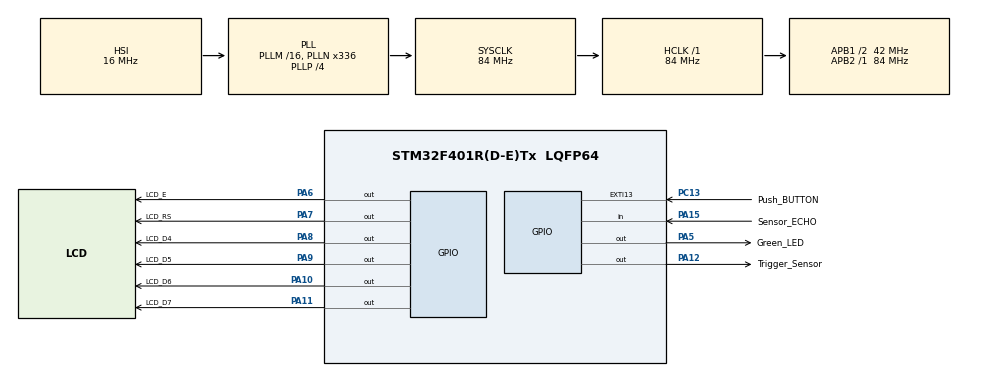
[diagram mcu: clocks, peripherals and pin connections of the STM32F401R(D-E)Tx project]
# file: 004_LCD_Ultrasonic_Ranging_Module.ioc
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Mcu.Family=STM32F4
Mcu.Name=STM32F401R(D-E)Tx
Mcu.Package=LQFP64
NVIC.PriorityGroup=NVIC_PRIORITYGROUP_0
NVIC.TIM1_UP_TIM10_IRQn=true\:0\:0\:false\:false\:true\:true\:true
PA10.GPIO_Label=LCD_D6
PA10.Signal=GPIO_Output
PA11.GPIO_Label=LCD_D7
PA11.Signal=GPIO_Output
PA12.GPIO_Label=Trigger_Sensor
PA12.Signal=GPIO_Output
PA15.GPIO_Label=Sensor_ECHO
PA15.Signal=GPIO_Input
PA5.GPIO_Label=Green_LED
PA5.GPIO_Mode=GPIO_MODE_OUTPUT_PP
PA5.GPIO_PuPd=GPIO_NOPULL
PA5.GPIO_Speed=GPIO_SPEED_FREQ_LOW
PA5.Signal=GPIO_Output
PA6.GPIO_Label=LCD_E
PA6.Signal=GPIO_Output
PA7.GPIO_Label=LCD_RS
PA7.Signal=GPIO_Output
PA8.GPIO_Label=LCD_D4
PA8.Signal=GPIO_Output
PA9.GPIO_Label=LCD_D5
PA9.Signal=GPIO_Output
PC13-ANTI_TAMP.GPIO_Label=Push_BUTTON
PC13-ANTI_TAMP.GPIO_ModeDefaultEXTI=GPIO_MODE_IT_FALLING
PC13-ANTI_TAMP.GPIO_PuPd=GPIO_NOPULL
PC13-ANTI_TAMP.Signal=GPXTI13
ProjectManager.HeapSize=0x200
ProjectManager.StackSize=0x400
ProjectManager.TargetToolchain=MDK-ARM V5.27
RCC.AHBFreq_Value=84000000
RCC.APB1CLKDivider=RCC_HCLK_DIV2
RCC.APB1Freq_Value=42000000
RCC.APB1TimFreq_Value=84000000
RCC.APB2Freq_Value=84000000
RCC.APB2TimFreq_Value=84000000
RCC.CortexFreq_Value=84000000
RCC.HCLKFreq_Value=84000000
RCC.HSE_VALUE=8000000
RCC.HSI_VALUE=16000000
RCC.LSE_VALUE=32768
RCC.PLLN=336
RCC.PLLP=RCC_PLLP_DIV4
RCC.PLLQ=7
RCC.SYSCLKFreq_VALUE=84000000
RCC.SYSCLKSource=RCC_SYSCLKSOURCE_PLLCLK
RCC.VCOOutputFreq_Value=336000000
TIM10.Prescaler=83
VP_TIM10_VS_ClockSourceINT.Mode=Enable_Timer
board=NUCLEO-F401RE

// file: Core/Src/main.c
/* USER CODE BEGIN Header */
/**
  ******************************************************************************
  * @file           : main.c
  * @brief          : Main program body
  ******************************************************************************
  * @attention
  *
  * <h2><center>&copy; Copyright (c) 2021 STMicroelectronics.
  * All rights reserved.</center></h2>
  *
  * This software component is licensed by ST under BSD 3-Clause license,
  * the "License"; You may not use this file except in compliance with the
  * License. You may obtain a copy of the License at:
  *                        opensource.org/licenses/BSD-3-Clause
  *
  ******************************************************************************
  */
/* USER CODE END Header */
#include "main.h"
#include "tim.h"
#include "gpio.h"

/* USER CODE BEGIN Includes */
#include "stm32f4xx_hal.h"
#include "hcsr04.h"
#include "lcd.h"
#include "stdio.h"
/* USER CODE END Includes */

/* USER CODE BEGIN PV */
	uint32_t read_time;
	float distance;
/* USER CODE END PV */

void SystemClock_Config(void);

int main(void)
{

  /* MCU Configuration--------------------------------------------------------*/

  /* Reset of all peripherals, Initializes the Flash interface and the Systick. */
  HAL_Init();

  /* Configure the system clock */
  SystemClock_Config();

  /* Initialize all configured peripherals */
  MX_GPIO_Init();
  MX_TIM10_Init();
  /* USER CODE BEGIN 2 */
	HAL_TIM_Base_Start_IT(&htim10);

	read_time=0;
	distance=0;

	HAL_Delay(500);
	LCD_Init();
	HAL_Delay(100);
	LCD_Clear();
	HAL_Delay(10);
	LCD_Set_Cursor(1,1);
	LCD_Write_String("Distance:");

	char number_array[100];

  /* USER CODE END 2 */

  /* Infinite loop */
  /* USER CODE BEGIN WHILE */
  while (1)
  {

		read_time=Read_Hcsr04();
		HAL_Delay(20);
		distance=(float)read_time/58;

		sprintf(number_array,"%.2f cm",distance);
		HAL_Delay(1);
		LCD_Set_Cursor(2,1);
		HAL_Delay(1);
		LCD_Write_String(number_array);

    /* USER CODE END WHILE */

  }
}

void SystemClock_Config(void)
{
  RCC_OscInitTypeDef RCC_OscInitStruct = {0};
  RCC_ClkInitTypeDef RCC_ClkInitStruct = {0};

  /** Configure the main internal regulator output voltage
  */
  __HAL_RCC_PWR_CLK_ENABLE();
  __HAL_PWR_VOLTAGESCALING_CONFIG(PWR_REGULATOR_VOLTAGE_SCALE2);
  /** Initializes the RCC Oscillators according to the specified parameters
  * in the RCC_OscInitTypeDef structure.
  */
  RCC_OscInitStruct.OscillatorType = RCC_OSCILLATORTYPE_HSI;
  RCC_OscInitStruct.HSIState = RCC_HSI_ON;
  RCC_OscInitStruct.HSICalibrationValue = RCC_HSICALIBRATION_DEFAULT;
  RCC_OscInitStruct.PLL.PLLState = RCC_PLL_ON;
  RCC_OscInitStruct.PLL.PLLSource = RCC_PLLSOURCE_HSI;
  RCC_OscInitStruct.PLL.PLLM = 16;
  RCC_OscInitStruct.PLL.PLLN = 336;
  RCC_OscInitStruct.PLL.PLLP = RCC_PLLP_DIV4;
  RCC_OscInitStruct.PLL.PLLQ = 7;
  if (HAL_RCC_OscConfig(&RCC_OscInitStruct) != HAL_OK)
  {
    Error_Handler();
  }
  /** Initializes the CPU, AHB and APB buses clocks
  */
  RCC_ClkInitStruct.ClockType = RCC_CLOCKTYPE_HCLK|RCC_CLOCKTYPE_SYSCLK
                              |RCC_CLOCKTYPE_PCLK1|RCC_CLOCKTYPE_PCLK2;
  RCC_ClkInitStruct.SYSCLKSource = RCC_SYSCLKSOURCE_PLLCLK;
  RCC_ClkInitStruct.AHBCLKDivider = RCC_SYSCLK_DIV1;
  RCC_ClkInitStruct.APB1CLKDivider = RCC_HCLK_DIV2;
  RCC_ClkInitStruct.APB2CLKDivider = RCC_HCLK_DIV1;

  if (HAL_RCC_ClockConfig(&RCC_ClkInitStruct, FLASH_LATENCY_2) != HAL_OK)
  {
    Error_Handler();
  }
}

void Error_Handler(void)
{
  __disable_irq();
  while (1)
  {
  }
}

/************************ (C) COPYRIGHT STMicroelectronics *****END OF FILE****/
